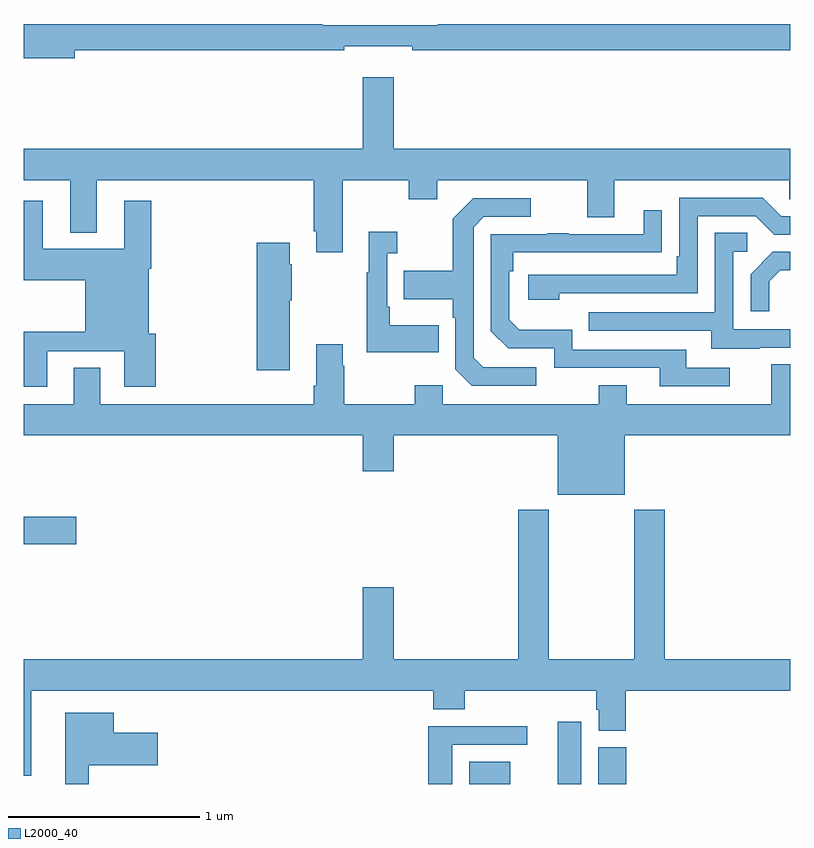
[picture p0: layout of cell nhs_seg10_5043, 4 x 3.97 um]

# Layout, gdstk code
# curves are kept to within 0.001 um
import gdstk
lib = gdstk.Library(unit=1e-6, precision=1e-09)
def R(c, l, rs):  # rectangles x0, y0, x1, y1
    for r in rs: c.add(gdstk.rectangle(r[:2], r[2:], *l))
def P(c, l, *ps):  # polygons
    for p in ps: c.add(gdstk.Polygon(p, *l))
L2000_40 = (2000, 40)

nhs_seg10_5043 = lib.new_cell('nhs_seg10_5043')
R(nhs_seg10_5043, L2000_40, [(405.326,1294.5,405.538,1294.615), (405.788,1294.5,405.91,1294.825), (405.998,1294.5,406.145,1294.692), (403,1295.753,403.273,1295.895)])
P(nhs_seg10_5043, L2000_40, [(403.264,1298.332),(404.672,1298.332),(404.672,1298.351),(405.028,1298.351),(405.028,1298.332),(407,1298.332),(407,1298.468),(405.16,1298.468),(405.16,1298.461),(404.56,1298.461),(404.56,1298.468),(403,1298.468),(403,1298.29),(403.264,1298.29)],
  [(404.665,1297.652),(405.01,1297.652),(405.01,1297.553),(405.157,1297.553),(405.157,1297.652),(405.941,1297.652),(405.941,1297.458),(406.081,1297.458),(406.081,1297.652),(406.995,1297.652),(406.995,1297.554),(407,1297.554),(407,1297.816),(404.932,1297.816),(404.932,1298.191),(404.768,1298.191),(404.768,1297.816),(403,1297.816),(403,1297.652),(403.241,1297.652),(403.241,1297.379),(403.381,1297.379),(403.381,1297.652),(404.513,1297.652),(404.513,1297.387),(404.525,1297.387),(404.525,1297.275),(404.665,1297.275)],
  [(405.794,1297.062),(406.518,1297.062),(406.518,1297.464),(406.821,1297.464),(406.917,1297.368),(407,1297.368),(407,1297.464),(406.953,1297.464),(406.857,1297.56),(406.422,1297.56),(406.422,1297.255),(406.409,1297.255),(406.409,1297.158),(405.633,1297.158),(405.633,1297.028),(405.794,1297.028)],
  [(405.676,1296.675),(405.399,1296.675),(405.348,1296.726),(405.348,1297.407),(405.402,1297.461),(405.646,1297.461),(405.646,1297.557),(405.345,1297.557),(405.24,1297.451),(405.24,1297.179),(404.983,1297.179),(404.983,1297.031),(405.24,1297.031),(405.24,1296.935),(405.252,1296.935),(405.252,1296.666),(405.339,1296.579),(405.676,1296.579)],
  [(403.123,1296.759),(403.523,1296.759),(403.523,1296.573),(403.688,1296.573),(403.688,1296.852),(403.651,1296.852),(403.651,1297.19),(403.664,1297.19),(403.664,1297.546),(403.523,1297.546),(403.523,1297.294),(403.099,1297.294),(403.099,1297.546),(403,1297.546),(403,1297.13),(403.319,1297.13),(403.319,1296.86),(403,1296.86),(403,1296.573),(403.123,1296.573)],
  [(406.684,1296.672),(406.459,1296.672),(406.459,1296.768),(405.864,1296.768),(405.864,1296.871),(405.587,1296.871),(405.534,1296.924),(405.534,1297.178),(405.554,1297.178),(405.554,1297.275),(406.331,1297.276),(406.331,1297.495),(406.235,1297.495),(406.235,1297.371),(405.845,1297.371),(405.845,1297.376),(405.733,1297.376),(405.733,1297.371),(405.438,1297.371),(405.438,1296.864),(405.528,1296.774),(405.768,1296.774),(405.768,1296.672),(406.319,1296.672),(406.319,1296.576),(406.684,1296.576)],
  [(405.167,1296.895),(404.911,1296.895),(404.911,1296.991),(404.898,1296.991),(404.898,1297.271),(404.95,1297.271),(404.95,1297.384),(404.801,1297.384),(404.801,1297.171),(404.79,1297.171),(404.79,1296.755),(405.167,1296.755)],
  [(406.843,1296.777),(407,1296.777),(407,1296.873),(406.704,1296.873),(406.704,1297.278),(406.777,1297.278),(406.777,1297.379),(406.608,1297.379),(406.608,1296.963),(405.949,1296.963),(405.949,1296.867),(406.589,1296.867),(406.589,1296.773),(406.843,1296.773)],
  [(404.389,1297.025),(404.397,1297.025),(404.397,1297.214),(404.389,1297.214),(404.389,1297.327),(404.216,1297.327),(404.216,1296.66),(404.389,1296.66)],
  [(406.891,1297.125),(406.948,1297.182),(407,1297.182),(407,1297.278),(406.91,1297.278),(406.794,1297.162),(406.794,1296.969),(406.891,1296.969)],
  [(406.138,1296.32),(407,1296.32),(407,1296.692),(406.901,1296.692),(406.901,1296.484),(406.147,1296.484),(406.147,1296.583),(406,1296.583),(406,1296.484),(405.186,1296.484),(405.186,1296.583),(405.04,1296.583),(405.04,1296.484),(404.673,1296.484),(404.673,1296.683),(404.665,1296.683),(404.665,1296.796),(404.525,1296.796),(404.525,1296.58),(404.513,1296.58),(404.513,1296.484),(403.399,1296.484),(403.399,1296.674),(403.259,1296.674),(403.259,1296.484),(403,1296.484),(403,1296.32),(404.768,1296.32),(404.768,1296.132),(404.932,1296.132),(404.932,1296.32),(405.788,1296.32),(405.788,1296.011),(406.138,1296.011)],
  [(403.039,1294.988),(405.137,1294.988),(405.137,1294.889),(405.302,1294.889),(405.302,1294.988),(405.989,1294.988),(405.989,1294.887),(406.001,1294.887),(406.001,1294.777),(406.142,1294.777),(406.142,1294.988),(407,1294.988),(407,1295.152),(406.346,1295.152),(406.346,1295.932),(406.186,1295.932),(406.186,1295.152),(405.741,1295.152),(405.741,1295.932),(405.581,1295.932),(405.581,1295.152),(404.932,1295.152),(404.932,1295.527),(404.768,1295.527),(404.768,1295.152),(403,1295.152),(403,1294.544),(403.039,1294.544)],
  [(403.339,1294.598),(403.699,1294.598),(403.699,1294.768),(403.468,1294.768),(403.468,1294.873),(403.217,1294.873),(403.217,1294.5),(403.339,1294.5)],
  [(405.235,1294.704),(405.628,1294.704),(405.628,1294.802),(405.11,1294.802),(405.11,1294.5),(405.235,1294.5)])

lib.write_gds('nhs_seg10_5043.gds')
